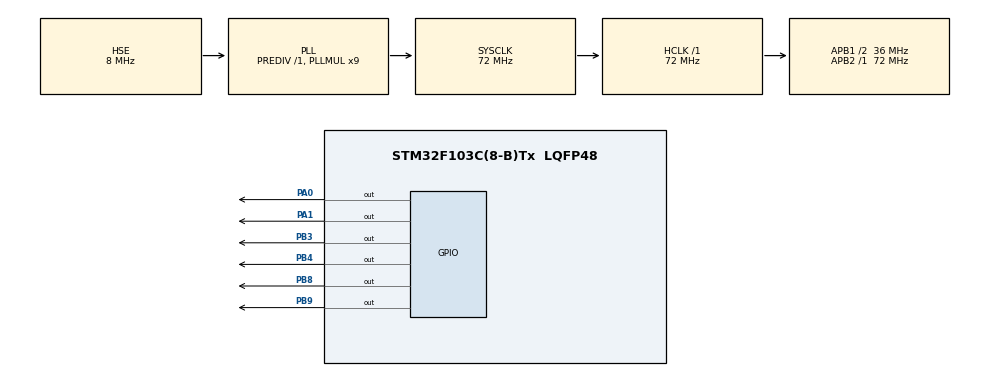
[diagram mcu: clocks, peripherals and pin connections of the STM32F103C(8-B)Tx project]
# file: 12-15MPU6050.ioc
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Mcu.Family=STM32F1
Mcu.Name=STM32F103C(8-B)Tx
Mcu.Package=LQFP48
NVIC.PriorityGroup=NVIC_PRIORITYGROUP_4
PA0-WKUP.Signal=GPIO_Output
PA1.Signal=GPIO_Output
PA13.Mode=Serial_Wire
PA13.Signal=SYS_JTMS-SWDIO
PA14.Mode=Serial_Wire
PA14.Signal=SYS_JTCK-SWCLK
PB3.Signal=GPIO_Output
PB4.Signal=GPIO_Output
PB8.Signal=GPIO_Output
PB9.Signal=GPIO_Output
PD0-OSC_IN.Mode=HSE-External-Oscillator
PD0-OSC_IN.Signal=RCC_OSC_IN
PD1-OSC_OUT.Mode=HSE-External-Oscillator
PD1-OSC_OUT.Signal=RCC_OSC_OUT
ProjectManager.HeapSize=0x200
ProjectManager.StackSize=0x400
ProjectManager.TargetToolchain=MDK-ARM V5.32
RCC.AHBFreq_Value=72000000
RCC.APB1CLKDivider=RCC_HCLK_DIV2
RCC.APB1Freq_Value=36000000
RCC.APB1TimFreq_Value=72000000
RCC.APB2Freq_Value=72000000
RCC.APB2TimFreq_Value=72000000
RCC.HCLKFreq_Value=72000000
RCC.PLLMUL=RCC_PLL_MUL9
RCC.PLLSourceVirtual=RCC_PLLSOURCE_HSE
RCC.SYSCLKFreq_VALUE=72000000
RCC.SYSCLKSource=RCC_SYSCLKSOURCE_PLLCLK
RCC.USBFreq_Value=72000000
TIM1.AutoReloadPreload=TIM_AUTORELOAD_PRELOAD_ENABLE
TIM1.Period=9999
TIM1.Prescaler=7199
VP_TIM1_VS_ClockSourceINT.Mode=Internal
board=custom

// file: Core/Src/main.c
/* USER CODE BEGIN Header */
/**
  ******************************************************************************
  * @file           : main.c
  * @brief          : Main program body
  ******************************************************************************
  * @attention
  *
  * Copyright (c) 2025 STMicroelectronics.
  * All rights reserved.
  *
  * This software is licensed under terms that can be found in the LICENSE file
  * in the root directory of this software component.
  * If no LICENSE file comes with this software, it is provided AS-IS.
  *
  ******************************************************************************
  */
/* USER CODE END Header */
#include "main.h"
#include "tim.h"
#include "gpio.h"

/* USER CODE BEGIN Includes */
#include "OLED.h"
#include "OLED_Data.h"
#include "IIC.h"
#include "inv_mpu.h"
#include "mpu6050.h"
#include "inv_mpu_dmp_motion_driver.h"
#include <stdio.h>
/* USER CODE END Includes */

/* USER CODE BEGIN PTD */
float pitch, roll, yaw;
char buffer[50];
/* USER CODE END PTD */

void SystemClock_Config(void);

int main(void)
{

  /* MCU Configuration--------------------------------------------------------*/

  /* Reset of all peripherals, Initializes the Flash interface and the Systick. */
  HAL_Init();

  /* Configure the system clock */
  SystemClock_Config();

  /* Initialize all configured peripherals */
  MX_GPIO_Init();
  MX_TIM1_Init();
  /* USER CODE BEGIN 2 */
//初始化
OLED_Init();
OLED_Clear();
MPU_Init();
mpu_dmp_init();
  /* USER CODE END 2 */

  /* Infinite loop */
  /* USER CODE BEGIN WHILE */
  while (1)
  {
    mpu_dmp_get_data(&pitch, &roll, &yaw);
    sprintf((char *)buffer, "P:%.2f  ", pitch);
    OLED_ShowString(0, 0, (char *)buffer, 8);

    sprintf((char *)buffer, "Y:%.2f  ", yaw);
    OLED_ShowString(0, 17, (char *)buffer, 8);

    sprintf((char *)buffer, "R:%.2f  ", roll);
    OLED_ShowString(0, 33, (char *)buffer, 8);
    OLED_Update();
    /* USER CODE END WHILE */

  }
}

void SystemClock_Config(void)
{
  RCC_OscInitTypeDef RCC_OscInitStruct = {0};
  RCC_ClkInitTypeDef RCC_ClkInitStruct = {0};

  /** Initializes the RCC Oscillators according to the specified parameters
  * in the RCC_OscInitTypeDef structure.
  */
  RCC_OscInitStruct.OscillatorType = RCC_OSCILLATORTYPE_HSE;
  RCC_OscInitStruct.HSEState = RCC_HSE_ON;
  RCC_OscInitStruct.HSEPredivValue = RCC_HSE_PREDIV_DIV1;
  RCC_OscInitStruct.HSIState = RCC_HSI_ON;
  RCC_OscInitStruct.PLL.PLLState = RCC_PLL_ON;
  RCC_OscInitStruct.PLL.PLLSource = RCC_PLLSOURCE_HSE;
  RCC_OscInitStruct.PLL.PLLMUL = RCC_PLL_MUL9;
  if (HAL_RCC_OscConfig(&RCC_OscInitStruct) != HAL_OK)
  {
    Error_Handler();
  }

  /** Initializes the CPU, AHB and APB buses clocks
  */
  RCC_ClkInitStruct.ClockType = RCC_CLOCKTYPE_HCLK|RCC_CLOCKTYPE_SYSCLK
                              |RCC_CLOCKTYPE_PCLK1|RCC_CLOCKTYPE_PCLK2;
  RCC_ClkInitStruct.SYSCLKSource = RCC_SYSCLKSOURCE_PLLCLK;
  RCC_ClkInitStruct.AHBCLKDivider = RCC_SYSCLK_DIV1;
  RCC_ClkInitStruct.APB1CLKDivider = RCC_HCLK_DIV2;
  RCC_ClkInitStruct.APB2CLKDivider = RCC_HCLK_DIV1;

  if (HAL_RCC_ClockConfig(&RCC_ClkInitStruct, FLASH_LATENCY_2) != HAL_OK)
  {
    Error_Handler();
  }
}

void Error_Handler(void)
{
  __disable_irq();
  while (1)
  {
  }
}
